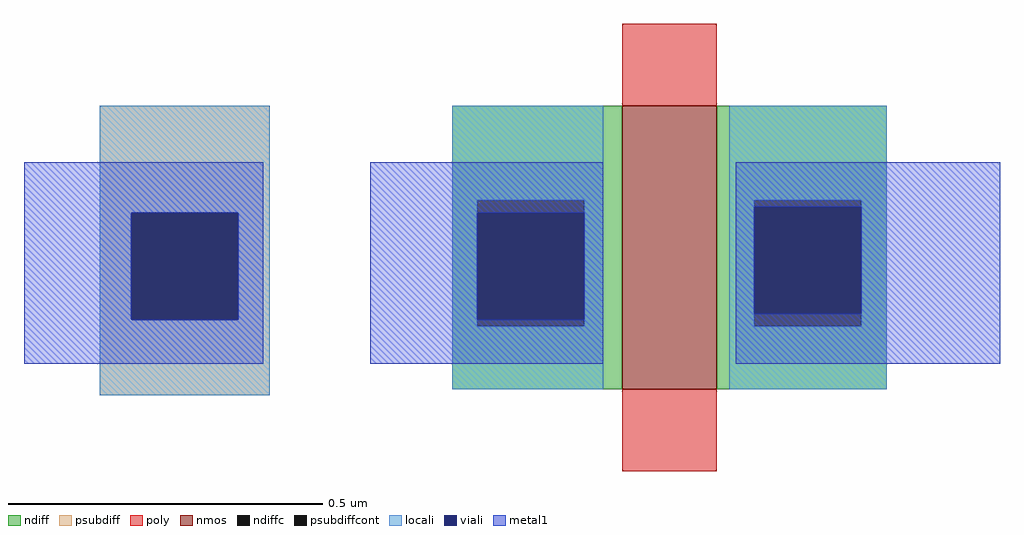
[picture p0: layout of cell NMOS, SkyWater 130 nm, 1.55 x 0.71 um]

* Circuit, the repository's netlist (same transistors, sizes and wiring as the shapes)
* SPICE3 file created from NMOS.ext - technology: sky130A

X0 a_10_0# a_n20_n26# a_n74_0# a_n186_n2# sky130_fd_pr__nfet_01v8 ad=0.1215 pd=1.44 as=0.1215 ps=1.44 w=0.45 l=0.15

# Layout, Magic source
magic
tech sky130A
<< nmos >>
rect -10 0 5 45
<< ndiff >>
rect -37 30 -10 45
rect -37 10 -33 30
rect -16 10 -10 30
rect -37 0 -10 10
rect 5 30 32 45
rect 5 10 11 30
rect 28 10 32 30
rect 5 0 32 10
<< ndiffc >>
rect -33 10 -16 30
rect 11 10 28 30
<< psubdiff >>
rect -93 28 -66 45
rect -93 11 -88 28
rect -71 11 -66 28
rect -93 -1 -66 11
<< psubdiffcont >>
rect -88 11 -71 28
<< poly >>
rect -10 45 5 58
rect -10 -13 5 0
<< locali >>
rect -93 28 -66 45
rect -93 11 -88 28
rect -71 11 -66 28
rect -93 -1 -66 11
rect -37 30 -13 45
rect -37 10 -33 30
rect -16 10 -13 30
rect -37 0 -13 10
rect 7 30 32 45
rect 7 10 11 30
rect 28 10 32 30
rect 7 0 32 10
<< viali >>
rect -88 11 -71 28
rect -33 11 -16 28
rect 11 12 28 29
<< metal1 >>
rect -105 28 -67 36
rect -105 11 -88 28
rect -71 11 -67 28
rect -105 4 -67 11
rect -50 28 -13 36
rect -50 11 -33 28
rect -16 11 -13 28
rect -50 4 -13 11
rect 8 29 50 36
rect 8 12 11 29
rect 28 12 50 29
rect 8 4 50 12
<< end >>
